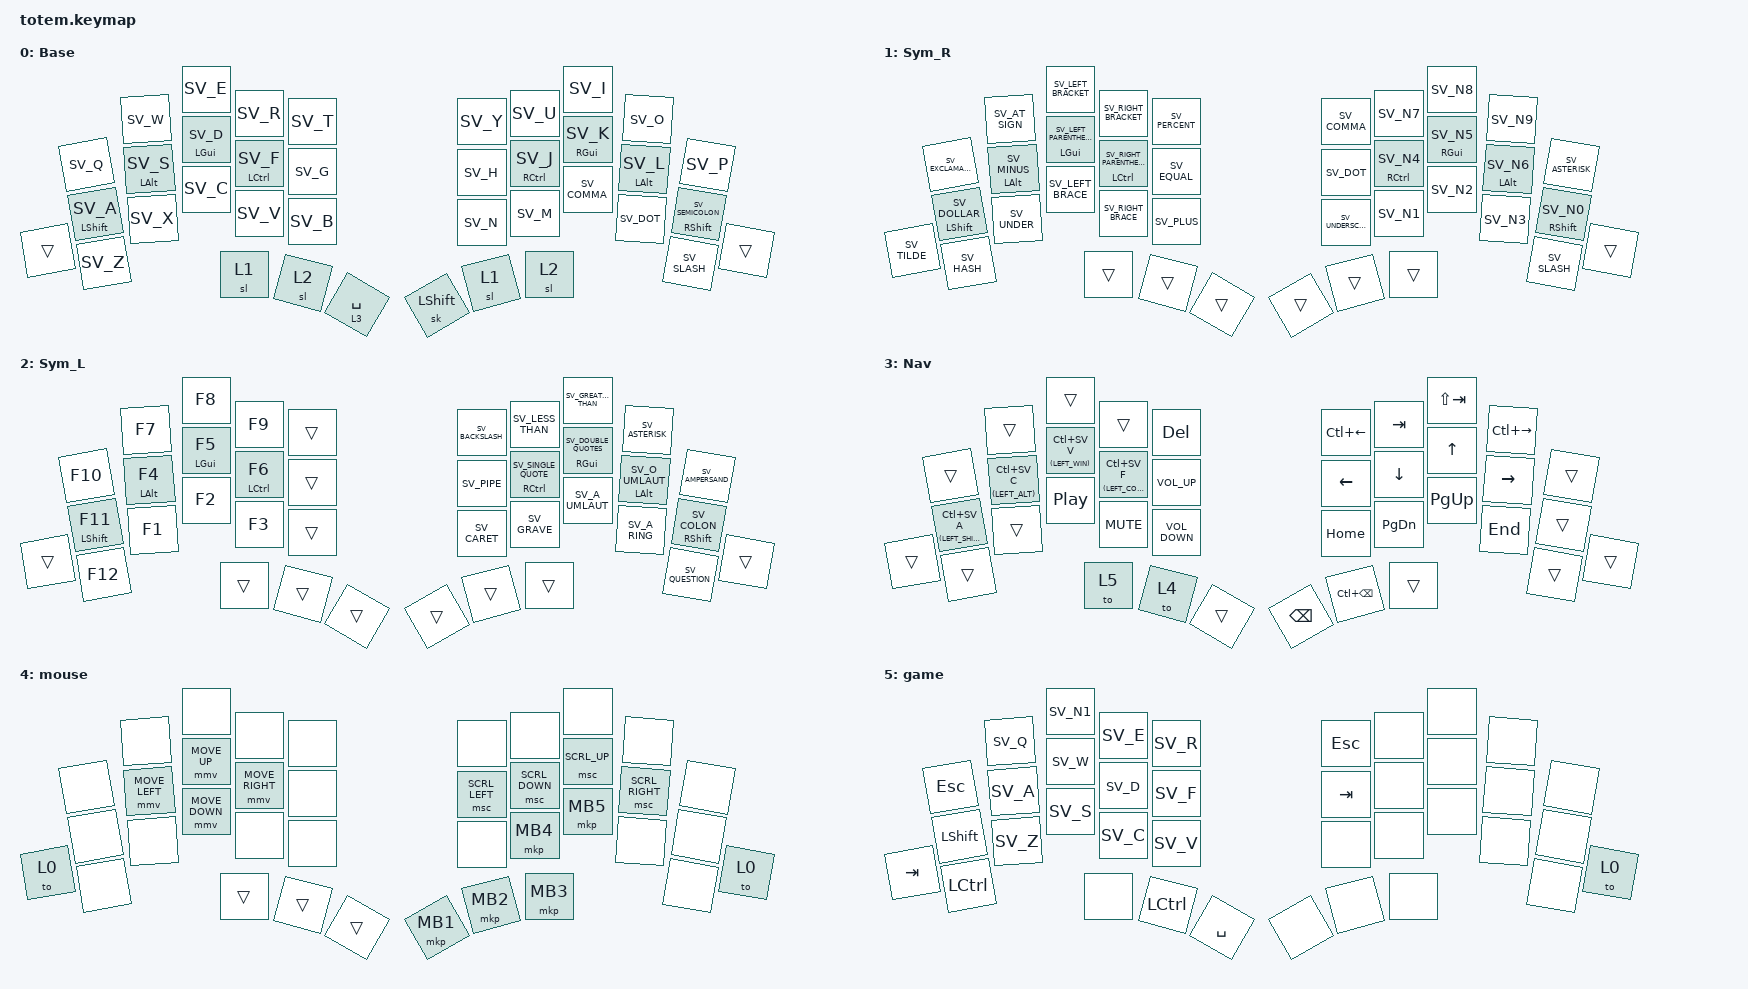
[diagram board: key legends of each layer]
//
//                                                        ▀▀▀▀▀     ▀▀▀▀▀          ▀▀█▀▀
//                                                        ▄▀▀▀▄  ▄  ▄▀▀▀▄  ▄  ▄▀▀▀▄  █  ▄▀▀▀▄
//                                                        █   █  █  █   █  █  █   █  █  █   █
//                                                         ▀▀▀   █   ▀▀▀   █   ▀▀▀   ▀   ▀▀▀
//                                                               █      ▄▄▄█▄▄▄    █   █  
//                                                               ▀      █  █  █     █▄█
//                                                             ▀▀▀▀▀    █  █  █      ▀
//                                                                      ▀  ▀  ▀
//
// ▄▄▄▄▄▄▄▄▄▄▄▄▄▄▄▄▄▄▄▄▄▄▄▄▄▄▄▄▄▄▄▄▄▄▄▄▄▄▄▄▄▄▄▄▄▄▄▄▄▄▄▄▄▄▄▄▄▄▄▄▄▄▄▄▄▄▄▄▄▄▄▄▄▄▄▄▄▄▄▄▄▄▄▄▄▄▄▄▄▄▄▄▄▄▄▄▄▄▄▄▄▄▄▄▄▄▄▄▄▄▄▄▄▄▄▄▄▄▄▄▄▄▄▄▄▄▄▄▄▄▄▄▄▄▄▄▄▄▄▄▄▄▄▄▄▄▄▄▄

#include <behaviors.dtsi>
#include <dt-bindings/zmk/keys.h>
#include <dt-bindings/zmk/pointing.h>
#include "keys_sv.h"

#define Base        0
#define Nav         1
#define Sym         2
#define Fun         3
#define Game        4
#define Gameplus    5

&mt {
    quick-tap-ms = <100>;
    global-quick-tap;
    flavor = "tap-preferred";
    tapping-term-ms = <170>;
};

&lt {
    tapping-term-ms = <240>;
    flavor = "balanced";
    quick-tap-ms = <200>;
};

/ {
    behaviors {
        hml: homerow_mods_left {
            compatible = "zmk,behavior-hold-tap";
            label = "HOMEROW_MODS_LEFT";
            #binding-cells = <2>;
            flavor = "balanced";
            tapping-term-ms = <300>;
            quick-tap-ms = <175>;

            /* require-prior-idle-ms = <150>; */

            bindings = <&kp>, <&kp>;

            hold-trigger-key-positions = <5 6 7 8 9 15 16 17 18 19 26 27 28 29 30 31 32 33 34 35 36 37>;
            hold-trigger-on-release;
        };

        hmr: homerow_mods_right {
            compatible = "zmk,behavior-hold-tap";
            label = "HOMEROW_MODS_RIGHT";
            #binding-cells = <2>;
            flavor = "balanced";
            tapping-term-ms = <300>;
            quick-tap-ms = <175>;

            /* require-prior-idle-ms = <150>; */

            bindings = <&kp>, <&kp>;

            hold-trigger-key-positions = <0 1 2 3 4 10 11 12 13 14 20 21 22 23 24 25 32 33 34 35 36 37>;
            hold-trigger-on-release;
        };
    };

    combos {
        compatible = "zmk,combos";

        caps_word {
            bindings = <&caps_word>;
            key-positions = <19 10>;
            layers = <2 0 4 1>;
        };

        backspace {
            bindings = <&kp BACKSPACE>;
            key-positions = <17 18>;
            layers = <0 1 2 3>;
        };

        tab {
            bindings = <&kp TAB>;
            key-positions = <28 29>;
            layers = <0 1 2 3>;
        };

        enter {
            bindings = <&kp ENTER>;
            key-positions = <7 8>;
            layers = <0 1 2 3>;
        };

        escape {
            bindings = <&kp ESCAPE>;
            key-positions = <11 12>;
            layers = <0 1 2 3>;
        };
    };

    keymap {
        compatible = "zmk,keymap";

        Base {
            display-name = "Base";
            bindings = <
        &kp SV_Q              &kp SV_W            &kp SV_E        &kp SV_R                &kp SV_T       &kp SV_Y        &kp SV_U                 &kp SV_I        &kp SV_O            &kp SV_P
        &hml LEFT_SHIFT SV_A  &hml LEFT_ALT SV_S  &hml LGUI SV_D  &hml LEFT_CONTROL SV_F  &kp SV_G       &kp SV_H        &hmr RIGHT_CONTROL SV_J  &hmr RGUI SV_K  &hmr LEFT_ALT SV_L  &hmr RIGHT_SHIFT SV_SEMICOLON
&trans  &kp SV_Z              &kp SV_X            &kp SV_C        &kp SV_V                &kp SV_B       &kp SV_N        &kp SV_M                 &kp SV_COMMA    &kp SV_DOT          &kp SV_SLASH                   &trans
                                                  &sl 1           &sl 2                   &lt 3 SPACE    &sk LEFT_SHIFT  &sl 1                    &sl 2
            >;
        };

        Sym_R {
            bindings = <
              &kp SV_EXCLAMATION         &kp SV_AT_SIGN          &kp SV_LEFT_BRACKET            &kp SV_RIGHT_BRACKET                    &kp SV_PERCENT    &kp SV_COMMA       &kp SV_N7                 &kp SV_N8        &kp SV_N9            &kp SV_ASTERISK
              &hml LEFT_SHIFT SV_DOLLAR  &hml LEFT_ALT SV_MINUS  &hml LGUI SV_LEFT_PARENTHESIS  &hml LEFT_CONTROL SV_RIGHT_PARENTHESIS  &kp SV_EQUAL      &kp SV_DOT         &hmr RIGHT_CONTROL SV_N4  &hmr RGUI SV_N5  &hmr LEFT_ALT SV_N6  &hmr RIGHT_SHIFT SV_N0
&kp SV_TILDE  &kp SV_HASH                &kp SV_UNDER            &kp SV_LEFT_BRACE              &kp SV_RIGHT_BRACE                      &kp SV_PLUS       &kp SV_UNDERSCORE  &kp SV_N1                 &kp SV_N2        &kp SV_N3            &kp SV_SLASH            &trans
                                                                 &trans                         &trans                                  &trans            &trans             &trans                    &trans
            >;
        };

        Sym_L {
            bindings = <
        &kp F10              &kp F7            &kp F8        &kp F9                &trans    &kp SV_BACKSLASH  &kp SV_LESS_THAN                    &kp SV_GREATER_THAN         &kp SV_ASTERISK            &kp SV_AMPERSAND
        &hml LEFT_SHIFT F11  &hml LEFT_ALT F4  &hml LGUI F5  &hml LEFT_CONTROL F6  &trans    &kp SV_PIPE       &hmr RIGHT_CONTROL SV_SINGLE_QUOTE  &hmr RGUI SV_DOUBLE_QUOTES  &hmr LEFT_ALT SV_O_UMLAUT  &hmr RIGHT_SHIFT SV_COLON
&trans  &kp F12              &kp F1            &kp F2        &kp F3                &trans    &kp SV_CARET      &kp SV_GRAVE                        &kp SV_A_UMLAUT             &kp SV_A_RING              &kp SV_QUESTION            &trans
                                               &trans        &trans                &trans    &trans            &trans                              &trans
            >;
        };

        Nav {
            display-name = "Nav";
            bindings = <
        &trans                      &trans                    &trans                    &trans                        &kp DELETE           &kp LC(LEFT)   &kp TAB            &kp LS(TAB)  &kp LC(RIGHT)  &trans
        &hml (LEFT_SHIFT) LC(SV_A)  &hml (LEFT_ALT) LC(SV_C)  &hml (LEFT_WIN) LC(SV_V)  &hml (LEFT_CONTROL) LC(SV_F)  &kp C_VOLUME_UP      &kp LEFT       &kp DOWN           &kp UP       &kp RIGHT      &trans
&trans  &trans                      &trans                    &kp C_PP                  &kp C_MUTE                    &kp C_VOLUME_DOWN    &kp HOME       &kp PAGE_DOWN      &kp PAGE_UP  &kp END        &trans  &trans
                                                              &to 5                     &to 4                         &trans               &kp BACKSPACE  &kp LC(BACKSPACE)  &trans
            >;
        };

        mouse {
            bindings = <
       &none  &none           &none           &none            &none     &none           &none           &none         &none            &none
       &none  &mmv MOVE_LEFT  &mmv MOVE_UP    &mmv MOVE_RIGHT  &none     &msc SCRL_LEFT  &msc SCRL_DOWN  &msc SCRL_UP  &msc SCRL_RIGHT  &none
&to 0  &none  &none           &mmv MOVE_DOWN  &none            &none     &none           &mkp MB4        &mkp MB5      &none            &none  &to 0
                              &trans          &trans           &trans    &mkp MB1        &mkp MB2        &mkp MB3
            >;
        };

        game {
            bindings = <
         &kp ESC           &kp SV_Q  &kp SV_N1  &kp SV_E   &kp SV_R     &kp ESC  &none  &none  &none  &none
         &kp LSHFT         &kp SV_A  &kp SV_W   &kp SV_D   &kp SV_F     &kp TAB  &none  &none  &none  &none
&kp TAB  &kp LEFT_CONTROL  &kp SV_Z  &kp SV_S   &kp SV_C   &kp SV_V     &none    &none  &none  &none  &none  &to 0
                                     &none      &kp LCTRL  &kp SPACE    &none    &none  &none
            >;
        };
    };
};
